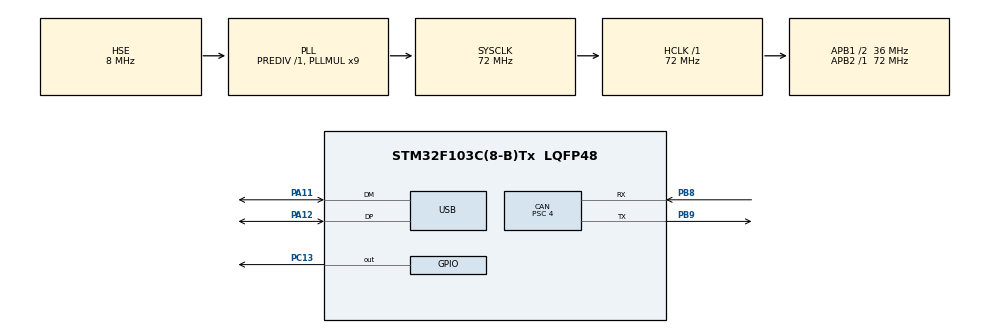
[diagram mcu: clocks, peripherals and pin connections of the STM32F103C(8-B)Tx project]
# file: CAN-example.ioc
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CAN.BS1=CAN_BS1_12TQ
CAN.BS2=CAN_BS2_5TQ
CAN.CalculateTimeBit=2000
CAN.CalculateTimeQuantum=111.11111111111111
CAN.Prescaler=4
FREERTOS.Tasks01=defaultTask,0,128,StartDefaultTask,Default,NULL,Dynamic,NULL,NULL
FREERTOS.configCHECK_FOR_STACK_OVERFLOW=2
FREERTOS.configUSE_MALLOC_FAILED_HOOK=1
Mcu.Family=STM32F1
Mcu.Name=STM32F103C(8-B)Tx
Mcu.Package=LQFP48
NVIC.PriorityGroup=NVIC_PRIORITYGROUP_4
NVIC.TIM4_IRQn=true\:0\:0\:false\:false\:true\:false\:false\:true
NVIC.TimeBase=TIM4_IRQn
NVIC.TimeBaseIP=TIM4
NVIC.USB_LP_CAN1_RX0_IRQn=true\:0\:0\:false\:false\:true\:false\:true\:true
PA11.Mode=Device
PA11.Signal=USB_DM
PA12.Mode=Device
PA12.Signal=USB_DP
PA13.Mode=Serial_Wire
PA13.Signal=SYS_JTMS-SWDIO
PA14.Mode=Serial_Wire
PA14.Signal=SYS_JTCK-SWCLK
PB8.Mode=Master
PB8.Signal=CAN_RX
PB9.Mode=Master
PB9.Signal=CAN_TX
PC13-TAMPER-RTC.Signal=GPIO_Output
PD0-OSC_IN.Mode=HSE-External-Oscillator
PD0-OSC_IN.Signal=RCC_OSC_IN
PD1-OSC_OUT.Mode=HSE-External-Oscillator
PD1-OSC_OUT.Signal=RCC_OSC_OUT
ProjectManager.HeapSize=0x200
ProjectManager.StackSize=0x400
ProjectManager.TargetToolchain=STM32CubeIDE
RCC.AHBFreq_Value=72000000
RCC.APB1CLKDivider=RCC_HCLK_DIV2
RCC.APB1Freq_Value=36000000
RCC.APB1TimFreq_Value=72000000
RCC.APB2Freq_Value=72000000
RCC.APB2TimFreq_Value=72000000
RCC.HCLKFreq_Value=72000000
RCC.PLLMUL=RCC_PLL_MUL9
RCC.PLLSourceVirtual=RCC_PLLSOURCE_HSE
RCC.SYSCLKFreq_VALUE=72000000
RCC.SYSCLKSource=RCC_SYSCLKSOURCE_PLLCLK
RCC.USBFreq_Value=48000000
RCC.USBPrescaler=RCC_USBCLKSOURCE_PLL_DIV1_5
USB_DEVICE.APP_RX_DATA_SIZE=64
USB_DEVICE.APP_TX_DATA_SIZE=64
USB_DEVICE.CLASS_NAME_FS=CDC
USB_DEVICE.VirtualMode=Cdc
USB_DEVICE.VirtualModeFS=Cdc_FS
VP_FREERTOS_VS_CMSIS_V1.Mode=CMSIS_V1
VP_SYS_VS_tim4.Mode=TIM4
VP_USB_DEVICE_VS_USB_DEVICE_CDC_FS.Mode=CDC_FS
board=custom

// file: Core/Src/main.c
/* USER CODE BEGIN Header */
/**
  ******************************************************************************
  * @file           : main.c
  * @brief          : Main program body
  ******************************************************************************
  * @attention
  *
  * <h2><center>&copy; Copyright (c) 2020 STMicroelectronics.
  * All rights reserved.</center></h2>
  *
  * This software component is licensed by ST under BSD 3-Clause license,
  * the "License"; You may not use this file except in compliance with the
  * License. You may obtain a copy of the License at:
  *                        opensource.org/licenses/BSD-3-Clause
  *
  ******************************************************************************
  */
/* USER CODE END Header */
#include "main.h"
#include "cmsis_os.h"
#include "usb_device.h"

CAN_HandleTypeDef hcan;

osThreadId defaultTaskHandle;
/* USER CODE BEGIN PV */
CAN_TxHeaderTypeDef pHeader; //declare a specific header for message transmittions
CAN_RxHeaderTypeDef pRxHeader; //declare header for message reception
uint32_t TxMailbox;
uint8_t a,r; //declare byte to be transmitted //declare a receive byte
CAN_FilterTypeDef sFilterConfig; //declare CAN filter structure
/* USER CODE END PV */

void SystemClock_Config(void);
static void MX_GPIO_Init(void);
static void MX_CAN_Init(void);
void StartDefaultTask(void const * argument);

int main(void)
{

  /* MCU Configuration--------------------------------------------------------*/

  /* Reset of all peripherals, Initializes the Flash interface and the Systick. */
  HAL_Init();

  /* Configure the system clock */
  SystemClock_Config();

  /* Initialize all configured peripherals */
  MX_GPIO_Init();
  MX_CAN_Init();
  /* USER CODE BEGIN 2 */
  pHeader.DLC=1; //give message size of 1 byte
  pHeader.IDE=CAN_ID_STD; //set identifier to standard
  pHeader.RTR=CAN_RTR_DATA; //set data type to remote transmission request?
  pHeader.StdId=0x245; //define a standard identifier, used for message identification by filters (switch this for the other microcontroller)

  //filter one (stack light blink)
  sFilterConfig.FilterFIFOAssignment=CAN_FILTER_FIFO0; //set fifo assignment
  sFilterConfig.FilterIdHigh=0x244<<5; //the ID that the filter looks for (switch this for the other microcontroller)
  sFilterConfig.FilterIdLow=0;
  sFilterConfig.FilterMaskIdHigh=0;
  sFilterConfig.FilterMaskIdLow=0;
  sFilterConfig.FilterScale=CAN_FILTERSCALE_32BIT; //set filter scale
  sFilterConfig.FilterMode=CAN_FILTERMODE_IDMASK;
  sFilterConfig.FilterActivation=ENABLE;
  sFilterConfig.FilterBank=0;

  HAL_CAN_ConfigFilter(&hcan, &sFilterConfig); //configure CAN filter

  HAL_CAN_Start(&hcan); //start CAN
  HAL_CAN_ActivateNotification(&hcan, CAN_IT_RX_FIFO0_MSG_PENDING); //enable interrupts
  /* USER CODE END 2 */

  /* Create the thread(s) */
  /* definition and creation of defaultTask */
  osThreadDef(defaultTask, StartDefaultTask, osPriorityNormal, 0, 128);
  defaultTaskHandle = osThreadCreate(osThread(defaultTask), NULL);

  /* Start scheduler */
  osKernelStart();

  /* We should never get here as control is now taken by the scheduler */
  /* Infinite loop */
  while (1)
  {

  }
}

void SystemClock_Config(void)
{
  RCC_OscInitTypeDef RCC_OscInitStruct = {0};
  RCC_ClkInitTypeDef RCC_ClkInitStruct = {0};
  RCC_PeriphCLKInitTypeDef PeriphClkInit = {0};

  /** Initializes the RCC Oscillators according to the specified parameters
  * in the RCC_OscInitTypeDef structure.
  */
  RCC_OscInitStruct.OscillatorType = RCC_OSCILLATORTYPE_HSE;
  RCC_OscInitStruct.HSEState = RCC_HSE_ON;
  RCC_OscInitStruct.HSEPredivValue = RCC_HSE_PREDIV_DIV1;
  RCC_OscInitStruct.HSIState = RCC_HSI_ON;
  RCC_OscInitStruct.PLL.PLLState = RCC_PLL_ON;
  RCC_OscInitStruct.PLL.PLLSource = RCC_PLLSOURCE_HSE;
  RCC_OscInitStruct.PLL.PLLMUL = RCC_PLL_MUL9;
  if (HAL_RCC_OscConfig(&RCC_OscInitStruct) != HAL_OK)
  {
    Error_Handler();
  }
  /** Initializes the CPU, AHB and APB buses clocks
  */
  RCC_ClkInitStruct.ClockType = RCC_CLOCKTYPE_HCLK|RCC_CLOCKTYPE_SYSCLK
                              |RCC_CLOCKTYPE_PCLK1|RCC_CLOCKTYPE_PCLK2;
  RCC_ClkInitStruct.SYSCLKSource = RCC_SYSCLKSOURCE_PLLCLK;
  RCC_ClkInitStruct.AHBCLKDivider = RCC_SYSCLK_DIV1;
  RCC_ClkInitStruct.APB1CLKDivider = RCC_HCLK_DIV2;
  RCC_ClkInitStruct.APB2CLKDivider = RCC_HCLK_DIV1;

  if (HAL_RCC_ClockConfig(&RCC_ClkInitStruct, FLASH_LATENCY_2) != HAL_OK)
  {
    Error_Handler();
  }
  PeriphClkInit.PeriphClockSelection = RCC_PERIPHCLK_USB;
  PeriphClkInit.UsbClockSelection = RCC_USBCLKSOURCE_PLL_DIV1_5;
  if (HAL_RCCEx_PeriphCLKConfig(&PeriphClkInit) != HAL_OK)
  {
    Error_Handler();
  }
}

static void MX_CAN_Init(void)
{

  hcan.Instance = CAN1;
  hcan.Init.Prescaler = 4;
  hcan.Init.Mode = CAN_MODE_NORMAL;
  hcan.Init.SyncJumpWidth = CAN_SJW_1TQ;
  hcan.Init.TimeSeg1 = CAN_BS1_12TQ;
  hcan.Init.TimeSeg2 = CAN_BS2_5TQ;
  hcan.Init.TimeTriggeredMode = DISABLE;
  hcan.Init.AutoBusOff = DISABLE;
  hcan.Init.AutoWakeUp = DISABLE;
  hcan.Init.AutoRetransmission = DISABLE;
  hcan.Init.ReceiveFifoLocked = DISABLE;
  hcan.Init.TransmitFifoPriority = DISABLE;
  if (HAL_CAN_Init(&hcan) != HAL_OK)
  {
    Error_Handler();
  }

}

static void MX_GPIO_Init(void)
{
  GPIO_InitTypeDef GPIO_InitStruct = {0};

  /* GPIO Ports Clock Enable */
  __HAL_RCC_GPIOC_CLK_ENABLE();
  __HAL_RCC_GPIOD_CLK_ENABLE();
  __HAL_RCC_GPIOA_CLK_ENABLE();
  __HAL_RCC_GPIOB_CLK_ENABLE();

  /*Configure GPIO pin Output Level */
  HAL_GPIO_WritePin(GPIOC, GPIO_PIN_13, GPIO_PIN_RESET);

  /*Configure GPIO pin : PC13 */
  GPIO_InitStruct.Pin = GPIO_PIN_13;
  GPIO_InitStruct.Mode = GPIO_MODE_OUTPUT_PP;
  GPIO_InitStruct.Pull = GPIO_NOPULL;
  GPIO_InitStruct.Speed = GPIO_SPEED_FREQ_LOW;
  HAL_GPIO_Init(GPIOC, &GPIO_InitStruct);

}

void StartDefaultTask(void const * argument)
{
  /* init code for USB_DEVICE */
  MX_USB_DEVICE_Init();
  /* USER CODE BEGIN 5 */
  HAL_GPIO_WritePin(GPIOC, GPIO_PIN_13,1);
  /* Infinite loop */
  for(;;)
  {
    osDelay(1000);
    //HAL_GPIO_TogglePin(GPIOC, GPIO_PIN_13);
    a++; //increment a
    HAL_CAN_AddTxMessage(&hcan, &pHeader, &a, &TxMailbox);
  }
  /* USER CODE END 5 */
}

void HAL_TIM_PeriodElapsedCallback(TIM_HandleTypeDef *htim)
{
  if (htim->Instance == TIM4) {
    HAL_IncTick();
  }
}

void Error_Handler(void)
{
}

/************************ (C) COPYRIGHT STMicroelectronics *****END OF FILE****/
